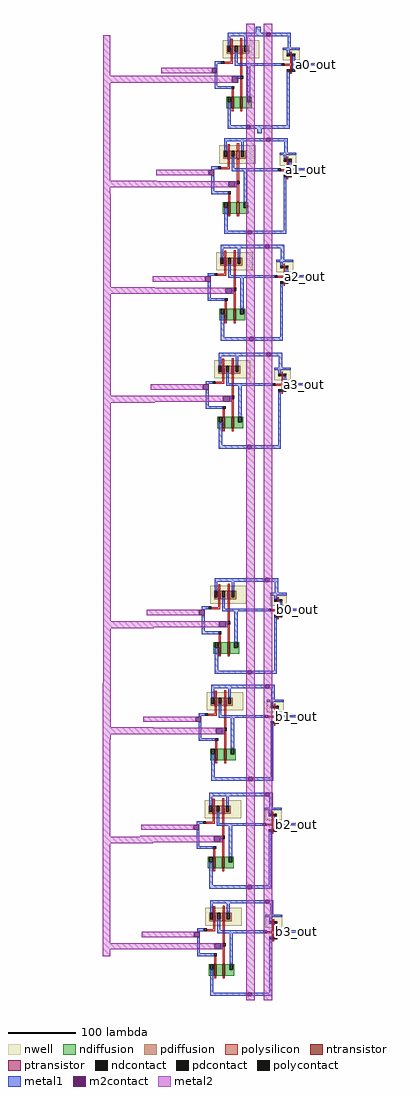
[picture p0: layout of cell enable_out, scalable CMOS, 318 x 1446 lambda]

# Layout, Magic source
magic
tech scmos
<< nwell >>
rect -3 -38 51 -11
rect 86 -41 111 -25
rect -8 -196 46 -169
rect 81 -199 106 -183
rect -11 -356 43 -329
rect 78 -359 103 -343
rect -17 -690 37 -663
rect 72 -693 97 -677
rect -22 -848 32 -821
rect 67 -851 92 -835
rect -25 -1008 29 -981
rect 64 -1011 89 -995
rect -24 -1167 30 -1140
rect 65 -1170 90 -1154
<< ntransistor >>
rect 97 -58 99 -54
rect 10 -112 13 -95
rect 23 -112 26 -95
rect 92 -216 94 -212
rect 5 -270 8 -253
rect 18 -270 21 -253
rect 89 -376 91 -372
rect 2 -430 5 -413
rect 15 -430 18 -413
rect 83 -710 85 -706
rect -4 -764 -1 -747
rect 9 -764 12 -747
rect 78 -868 80 -864
rect -9 -922 -6 -905
rect 4 -922 7 -905
rect 75 -1028 77 -1024
rect -12 -1082 -9 -1065
rect 1 -1082 4 -1065
rect 76 -1187 78 -1183
rect -11 -1241 -8 -1224
rect 2 -1241 5 -1224
<< ptransistor >>
rect 9 -31 12 -19
rect 23 -31 26 -19
rect 97 -35 99 -31
rect 4 -189 7 -177
rect 18 -189 21 -177
rect 92 -193 94 -189
rect 1 -349 4 -337
rect 15 -349 18 -337
rect 89 -353 91 -349
rect -5 -683 -2 -671
rect 9 -683 12 -671
rect 83 -687 85 -683
rect -10 -841 -7 -829
rect 4 -841 7 -829
rect 78 -845 80 -841
rect -13 -1001 -10 -989
rect 1 -1001 4 -989
rect 75 -1005 77 -1001
rect -12 -1160 -9 -1148
rect 2 -1160 5 -1148
rect 76 -1164 78 -1160
<< ndiffusion >>
rect 96 -58 97 -54
rect 99 -58 100 -54
rect 2 -103 4 -95
rect 9 -103 10 -95
rect 2 -112 10 -103
rect 13 -112 23 -95
rect 26 -103 33 -95
rect 38 -103 40 -95
rect 26 -112 40 -103
rect 91 -216 92 -212
rect 94 -216 95 -212
rect -3 -261 -1 -253
rect 4 -261 5 -253
rect -3 -270 5 -261
rect 8 -270 18 -253
rect 21 -261 28 -253
rect 33 -261 35 -253
rect 21 -270 35 -261
rect 88 -376 89 -372
rect 91 -376 92 -372
rect -6 -421 -4 -413
rect 1 -421 2 -413
rect -6 -430 2 -421
rect 5 -430 15 -413
rect 18 -421 25 -413
rect 30 -421 32 -413
rect 18 -430 32 -421
rect 82 -710 83 -706
rect 85 -710 86 -706
rect -12 -755 -10 -747
rect -5 -755 -4 -747
rect -12 -764 -4 -755
rect -1 -764 9 -747
rect 12 -755 19 -747
rect 24 -755 26 -747
rect 12 -764 26 -755
rect 77 -868 78 -864
rect 80 -868 81 -864
rect -17 -913 -15 -905
rect -10 -913 -9 -905
rect -17 -922 -9 -913
rect -6 -922 4 -905
rect 7 -913 14 -905
rect 19 -913 21 -905
rect 7 -922 21 -913
rect 74 -1028 75 -1024
rect 77 -1028 78 -1024
rect -20 -1073 -18 -1065
rect -13 -1073 -12 -1065
rect -20 -1082 -12 -1073
rect -9 -1082 1 -1065
rect 4 -1073 11 -1065
rect 16 -1073 18 -1065
rect 4 -1082 18 -1073
rect 75 -1187 76 -1183
rect 78 -1187 79 -1183
rect -19 -1232 -17 -1224
rect -12 -1232 -11 -1224
rect -19 -1241 -11 -1232
rect -8 -1241 2 -1224
rect 5 -1232 12 -1224
rect 17 -1232 19 -1224
rect 5 -1241 19 -1232
<< pdiffusion >>
rect 3 -28 4 -19
rect 8 -28 9 -19
rect 3 -31 9 -28
rect 12 -28 15 -19
rect 19 -28 23 -19
rect 12 -31 23 -28
rect 26 -28 29 -19
rect 33 -28 36 -19
rect 26 -31 36 -28
rect 96 -35 97 -31
rect 99 -35 100 -31
rect -2 -186 -1 -177
rect 3 -186 4 -177
rect -2 -189 4 -186
rect 7 -186 10 -177
rect 14 -186 18 -177
rect 7 -189 18 -186
rect 21 -186 24 -177
rect 28 -186 31 -177
rect 21 -189 31 -186
rect 91 -193 92 -189
rect 94 -193 95 -189
rect -5 -346 -4 -337
rect 0 -346 1 -337
rect -5 -349 1 -346
rect 4 -346 7 -337
rect 11 -346 15 -337
rect 4 -349 15 -346
rect 18 -346 21 -337
rect 25 -346 28 -337
rect 18 -349 28 -346
rect 88 -353 89 -349
rect 91 -353 92 -349
rect -11 -680 -10 -671
rect -6 -680 -5 -671
rect -11 -683 -5 -680
rect -2 -680 1 -671
rect 5 -680 9 -671
rect -2 -683 9 -680
rect 12 -680 15 -671
rect 19 -680 22 -671
rect 12 -683 22 -680
rect 82 -687 83 -683
rect 85 -687 86 -683
rect -16 -838 -15 -829
rect -11 -838 -10 -829
rect -16 -841 -10 -838
rect -7 -838 -4 -829
rect 0 -838 4 -829
rect -7 -841 4 -838
rect 7 -838 10 -829
rect 14 -838 17 -829
rect 7 -841 17 -838
rect 77 -845 78 -841
rect 80 -845 81 -841
rect -19 -998 -18 -989
rect -14 -998 -13 -989
rect -19 -1001 -13 -998
rect -10 -998 -7 -989
rect -3 -998 1 -989
rect -10 -1001 1 -998
rect 4 -998 7 -989
rect 11 -998 14 -989
rect 4 -1001 14 -998
rect 74 -1005 75 -1001
rect 77 -1005 78 -1001
rect -18 -1157 -17 -1148
rect -13 -1157 -12 -1148
rect -18 -1160 -12 -1157
rect -9 -1157 -6 -1148
rect -2 -1157 2 -1148
rect -9 -1160 2 -1157
rect 5 -1157 8 -1148
rect 12 -1157 15 -1148
rect 5 -1160 15 -1157
rect 75 -1164 76 -1160
rect 78 -1164 79 -1160
<< ndcontact >>
rect 92 -58 96 -54
rect 100 -58 104 -54
rect 4 -103 9 -95
rect 33 -103 38 -95
rect 87 -216 91 -212
rect 95 -216 99 -212
rect -1 -261 4 -253
rect 28 -261 33 -253
rect 84 -376 88 -372
rect 92 -376 96 -372
rect -4 -421 1 -413
rect 25 -421 30 -413
rect 78 -710 82 -706
rect 86 -710 90 -706
rect -10 -755 -5 -747
rect 19 -755 24 -747
rect 73 -868 77 -864
rect 81 -868 85 -864
rect -15 -913 -10 -905
rect 14 -913 19 -905
rect 70 -1028 74 -1024
rect 78 -1028 82 -1024
rect -18 -1073 -13 -1065
rect 11 -1073 16 -1065
rect 71 -1187 75 -1183
rect 79 -1187 83 -1183
rect -17 -1232 -12 -1224
rect 12 -1232 17 -1224
<< pdcontact >>
rect 4 -28 8 -19
rect 15 -28 19 -19
rect 29 -28 33 -19
rect 92 -35 96 -31
rect 100 -35 104 -31
rect -1 -186 3 -177
rect 10 -186 14 -177
rect 24 -186 28 -177
rect 87 -193 91 -189
rect 95 -193 99 -189
rect -4 -346 0 -337
rect 7 -346 11 -337
rect 21 -346 25 -337
rect 84 -353 88 -349
rect 92 -353 96 -349
rect -10 -680 -6 -671
rect 1 -680 5 -671
rect 15 -680 19 -671
rect 78 -687 82 -683
rect 86 -687 90 -683
rect -15 -838 -11 -829
rect -4 -838 0 -829
rect 10 -838 14 -829
rect 73 -845 77 -841
rect 81 -845 85 -841
rect -18 -998 -14 -989
rect -7 -998 -3 -989
rect 7 -998 11 -989
rect 70 -1005 74 -1001
rect 78 -1005 82 -1001
rect -17 -1157 -13 -1148
rect -6 -1157 -2 -1148
rect 8 -1157 12 -1148
rect 71 -1164 75 -1160
rect 79 -1164 83 -1160
<< polysilicon >>
rect 9 -19 12 -9
rect 23 -19 26 -8
rect 97 -31 99 -28
rect 9 -43 12 -31
rect -1 -46 12 -43
rect 23 -64 26 -31
rect 97 -46 99 -35
rect 88 -49 99 -46
rect 97 -54 99 -49
rect 97 -61 99 -58
rect 10 -95 13 -83
rect 23 -95 26 -68
rect 10 -116 13 -112
rect 23 -116 26 -112
rect 4 -177 7 -167
rect 18 -177 21 -166
rect 92 -189 94 -186
rect 4 -201 7 -189
rect -6 -204 7 -201
rect 18 -222 21 -189
rect 92 -204 94 -193
rect 83 -207 94 -204
rect 92 -212 94 -207
rect 92 -219 94 -216
rect 5 -253 8 -241
rect 18 -253 21 -226
rect 5 -274 8 -270
rect 18 -274 21 -270
rect 1 -337 4 -327
rect 15 -337 18 -326
rect 89 -349 91 -346
rect 1 -361 4 -349
rect -9 -364 4 -361
rect 15 -382 18 -349
rect 89 -364 91 -353
rect 80 -367 91 -364
rect 89 -372 91 -367
rect 89 -379 91 -376
rect 2 -413 5 -401
rect 15 -413 18 -386
rect 2 -434 5 -430
rect 15 -434 18 -430
rect -5 -671 -2 -661
rect 9 -671 12 -660
rect 83 -683 85 -680
rect -5 -695 -2 -683
rect -15 -698 -2 -695
rect 9 -716 12 -683
rect 83 -698 85 -687
rect 74 -701 85 -698
rect 83 -706 85 -701
rect 83 -713 85 -710
rect -4 -747 -1 -735
rect 9 -747 12 -720
rect -4 -768 -1 -764
rect 9 -768 12 -764
rect -10 -829 -7 -819
rect 4 -829 7 -818
rect 78 -841 80 -838
rect -10 -853 -7 -841
rect -20 -856 -7 -853
rect 4 -874 7 -841
rect 78 -856 80 -845
rect 69 -859 80 -856
rect 78 -864 80 -859
rect 78 -871 80 -868
rect -9 -905 -6 -893
rect 4 -905 7 -878
rect -9 -926 -6 -922
rect 4 -926 7 -922
rect -13 -989 -10 -979
rect 1 -989 4 -978
rect 75 -1001 77 -998
rect -13 -1013 -10 -1001
rect -23 -1016 -10 -1013
rect 1 -1034 4 -1001
rect 75 -1016 77 -1005
rect 66 -1019 77 -1016
rect 75 -1024 77 -1019
rect 75 -1031 77 -1028
rect -12 -1065 -9 -1053
rect 1 -1065 4 -1038
rect -12 -1086 -9 -1082
rect 1 -1086 4 -1082
rect -12 -1148 -9 -1138
rect 2 -1148 5 -1137
rect 76 -1160 78 -1157
rect -12 -1172 -9 -1160
rect -22 -1175 -9 -1172
rect 2 -1193 5 -1160
rect 76 -1175 78 -1164
rect 67 -1178 78 -1175
rect 76 -1183 78 -1178
rect 76 -1190 78 -1187
rect -11 -1224 -8 -1212
rect 2 -1224 5 -1197
rect -11 -1245 -8 -1241
rect 2 -1245 5 -1241
<< polycontact >>
rect -5 -46 -1 -42
rect 84 -49 88 -45
rect 23 -68 27 -64
rect 10 -83 14 -79
rect -10 -204 -6 -200
rect 79 -207 83 -203
rect 18 -226 22 -222
rect 5 -241 9 -237
rect -13 -364 -9 -360
rect 76 -367 80 -363
rect 15 -386 19 -382
rect 2 -401 6 -397
rect -19 -698 -15 -694
rect 70 -701 74 -697
rect 9 -720 13 -716
rect -4 -735 0 -731
rect -24 -856 -20 -852
rect 65 -859 69 -855
rect 4 -878 8 -874
rect -9 -893 -5 -889
rect -27 -1016 -23 -1012
rect 62 -1019 66 -1015
rect 1 -1038 5 -1034
rect -12 -1053 -8 -1049
rect -26 -1175 -22 -1171
rect 63 -1178 67 -1174
rect 2 -1197 6 -1193
rect -11 -1212 -7 -1208
<< metal1 >>
rect 51 153 58 165
rect 126 108 142 111
rect 53 7 60 18
rect 4 -5 66 0
rect 72 -5 98 0
rect 4 -19 8 -5
rect 29 -19 33 -5
rect 93 -22 98 -5
rect 86 -25 111 -22
rect -15 -46 -5 -42
rect 15 -45 19 -28
rect 92 -31 96 -25
rect 100 -45 104 -35
rect -15 -47 -11 -46
rect 15 -49 84 -45
rect 100 -48 134 -45
rect -15 -79 -11 -55
rect 20 -68 23 -64
rect -15 -83 10 -79
rect 33 -95 38 -49
rect 100 -54 104 -48
rect 4 -137 9 -103
rect 92 -137 96 -58
rect 4 -142 39 -137
rect 45 -142 96 -137
rect -1 -163 65 -158
rect 71 -163 93 -158
rect -1 -177 3 -163
rect 24 -177 28 -163
rect 88 -180 93 -163
rect 81 -183 106 -180
rect -20 -204 -10 -200
rect 10 -203 14 -186
rect 87 -189 91 -183
rect 95 -203 99 -193
rect -20 -205 -16 -204
rect 10 -207 79 -203
rect 95 -206 130 -203
rect -20 -237 -16 -213
rect 15 -226 18 -222
rect -20 -241 5 -237
rect 28 -253 33 -207
rect 95 -212 99 -206
rect -1 -295 4 -261
rect 87 -295 91 -216
rect -1 -300 41 -295
rect 47 -300 91 -295
rect -4 -323 67 -318
rect 73 -323 90 -318
rect -4 -337 0 -323
rect 21 -337 25 -323
rect 85 -340 90 -323
rect 78 -343 103 -340
rect -23 -364 -13 -360
rect 7 -363 11 -346
rect 84 -349 88 -343
rect 92 -363 96 -353
rect -23 -365 -19 -364
rect 7 -367 76 -363
rect 92 -366 128 -363
rect -23 -397 -19 -373
rect 12 -386 15 -382
rect -23 -401 2 -397
rect 25 -413 30 -367
rect 92 -372 96 -366
rect -4 -455 1 -421
rect 84 -455 88 -376
rect -4 -460 38 -455
rect 44 -460 88 -455
rect -10 -657 65 -652
rect 71 -657 84 -652
rect -10 -671 -6 -657
rect 15 -671 19 -657
rect 79 -674 84 -657
rect 72 -677 97 -674
rect -29 -698 -19 -694
rect 1 -697 5 -680
rect 78 -683 82 -677
rect 86 -697 90 -687
rect -29 -699 -25 -698
rect 1 -701 70 -697
rect 86 -700 121 -697
rect -29 -731 -25 -707
rect 6 -720 9 -716
rect -29 -735 -4 -731
rect 19 -747 24 -701
rect 86 -706 90 -700
rect -10 -789 -5 -755
rect 78 -789 82 -710
rect -10 -794 39 -789
rect 45 -794 82 -789
rect -15 -815 65 -810
rect 71 -815 79 -810
rect -15 -829 -11 -815
rect 10 -829 14 -815
rect 74 -832 79 -815
rect 67 -835 92 -832
rect -34 -856 -24 -852
rect -4 -855 0 -838
rect 73 -841 77 -835
rect 81 -855 85 -845
rect -34 -857 -30 -856
rect -4 -859 65 -855
rect 81 -858 118 -855
rect -34 -889 -30 -865
rect 1 -878 4 -874
rect -34 -893 -9 -889
rect 14 -905 19 -859
rect 81 -864 85 -858
rect -15 -947 -10 -913
rect 73 -947 77 -868
rect -15 -952 40 -947
rect 46 -952 77 -947
rect -18 -975 65 -970
rect -18 -989 -14 -975
rect 7 -989 11 -975
rect 71 -992 76 -970
rect 64 -995 89 -992
rect -37 -1016 -27 -1012
rect -7 -1015 -3 -998
rect 70 -1001 74 -995
rect 78 -1015 82 -1005
rect -37 -1017 -33 -1016
rect -7 -1019 62 -1015
rect 78 -1018 116 -1015
rect -37 -1049 -33 -1025
rect -2 -1038 1 -1034
rect -37 -1053 -12 -1049
rect 11 -1065 16 -1019
rect 78 -1024 82 -1018
rect -18 -1107 -13 -1073
rect 70 -1107 74 -1028
rect -18 -1112 39 -1107
rect 45 -1112 74 -1107
rect -17 -1134 65 -1129
rect 71 -1134 77 -1129
rect -17 -1148 -13 -1134
rect 8 -1148 12 -1134
rect 72 -1151 77 -1134
rect 65 -1154 90 -1151
rect -36 -1175 -26 -1171
rect -6 -1174 -2 -1157
rect 71 -1160 75 -1154
rect 79 -1174 83 -1164
rect -36 -1176 -32 -1175
rect -6 -1178 63 -1174
rect 79 -1177 114 -1174
rect -36 -1208 -32 -1184
rect -1 -1197 2 -1193
rect -36 -1212 -11 -1208
rect 12 -1224 17 -1178
rect 79 -1183 83 -1177
rect -17 -1266 -12 -1232
rect 71 -1266 75 -1187
rect -17 -1271 39 -1266
rect 45 -1271 75 -1266
<< m2contact >>
rect 66 151 72 156
rect -14 96 -6 104
rect 16 82 25 92
rect 37 14 43 19
rect 66 -5 72 0
rect -19 -55 -11 -47
rect 11 -73 20 -64
rect 39 -142 45 -137
rect 65 -163 71 -158
rect -24 -213 -16 -205
rect 6 -231 15 -222
rect 41 -300 47 -295
rect 67 -323 73 -318
rect -27 -373 -19 -365
rect 3 -391 12 -382
rect 38 -460 44 -455
rect 65 -657 71 -652
rect -33 -707 -25 -699
rect -3 -725 6 -716
rect 39 -794 45 -789
rect 65 -815 71 -810
rect -38 -865 -30 -857
rect -8 -883 1 -874
rect 40 -952 46 -947
rect 65 -975 71 -970
rect -41 -1025 -33 -1017
rect -11 -1043 -2 -1034
rect 39 -1112 45 -1107
rect 65 -1134 71 -1129
rect -40 -1184 -32 -1176
rect -10 -1202 -1 -1193
rect 39 -1271 45 -1266
<< metal2 >>
rect -175 92 -165 152
rect -89 96 -14 104
rect -175 82 16 92
rect -175 -63 -165 82
rect 37 19 49 169
rect 43 14 49 19
rect -97 -55 -19 -47
rect -175 -64 -96 -63
rect -175 -73 11 -64
rect 20 -73 23 -64
rect -175 -83 -165 -73
rect -175 -221 -164 -83
rect 37 -137 49 14
rect 37 -142 39 -137
rect 45 -142 49 -137
rect -102 -213 -24 -205
rect -175 -222 -99 -221
rect -175 -231 6 -222
rect 15 -231 18 -222
rect -175 -382 -164 -231
rect 37 -295 49 -142
rect 37 -300 41 -295
rect 47 -300 49 -295
rect -105 -373 -27 -365
rect -175 -391 3 -382
rect 12 -391 15 -382
rect -175 -392 -99 -391
rect -175 -716 -164 -392
rect 37 -455 49 -300
rect 37 -460 38 -455
rect 44 -460 49 -455
rect -111 -707 -33 -699
rect -175 -725 -3 -716
rect 6 -725 9 -716
rect -175 -726 -100 -725
rect -175 -807 -164 -726
rect -176 -873 -164 -807
rect 37 -789 49 -460
rect 37 -794 39 -789
rect 45 -794 49 -789
rect -116 -865 -38 -857
rect -176 -874 -101 -873
rect -176 -883 -8 -874
rect 1 -883 4 -874
rect -176 -891 -164 -883
rect -176 -1035 -165 -891
rect 37 -947 49 -794
rect 37 -952 40 -947
rect 46 -952 49 -947
rect -119 -1025 -41 -1017
rect -120 -1035 -11 -1034
rect -176 -1043 -11 -1035
rect -2 -1043 1 -1034
rect -176 -1045 -101 -1043
rect -176 -1193 -165 -1045
rect 37 -1107 49 -952
rect 37 -1112 39 -1107
rect 45 -1112 49 -1107
rect -118 -1184 -40 -1176
rect -176 -1202 -10 -1193
rect -1 -1202 2 -1193
rect -176 -1212 -165 -1202
rect 37 -1266 49 -1112
rect 37 -1271 39 -1266
rect 45 -1271 49 -1266
rect 37 -1277 49 -1271
rect 63 156 75 169
rect 63 151 66 156
rect 72 151 75 156
rect 63 0 75 151
rect 63 -5 66 0
rect 72 -5 75 0
rect 63 -158 75 -5
rect 63 -163 65 -158
rect 71 -163 75 -158
rect 63 -318 75 -163
rect 63 -323 67 -318
rect 73 -323 75 -318
rect 63 -652 75 -323
rect 63 -657 65 -652
rect 71 -657 75 -652
rect 63 -810 75 -657
rect 63 -815 65 -810
rect 71 -815 75 -810
rect 63 -970 75 -815
rect 63 -975 65 -970
rect 71 -975 75 -970
rect 63 -1129 75 -975
rect 63 -1134 65 -1129
rect 71 -1134 75 -1129
rect 63 -1277 75 -1134
use AND  AND_0
transform 1 0 50 0 1 110
box -60 -96 78 46
<< labels >>
rlabel metal1 109 -1177 112 -1174 1 b3_out
rlabel metal1 109 -1018 112 -1015 1 b2_out
rlabel metal1 110 -858 113 -855 1 b1_out
rlabel metal1 111 -700 114 -697 1 b0_out
rlabel metal1 121 -366 124 -363 1 a3_out
rlabel metal1 123 -206 126 -203 1 a2_out
rlabel metal1 125 -48 128 -45 1 a1_out
rlabel metal1 139 108 142 111 7 a0_out
<< end >>

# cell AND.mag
magic
tech scmos
<< nwell >>
rect -48 8 6 35
rect 41 5 66 21
<< ntransistor >>
rect 52 -12 54 -8
rect -35 -66 -32 -49
rect -22 -66 -19 -49
<< ptransistor >>
rect -36 15 -33 27
rect -22 15 -19 27
rect 52 11 54 15
<< ndiffusion >>
rect 51 -12 52 -8
rect 54 -12 55 -8
rect -43 -57 -41 -49
rect -36 -57 -35 -49
rect -43 -66 -35 -57
rect -32 -66 -22 -49
rect -19 -57 -12 -49
rect -7 -57 -5 -49
rect -19 -66 -5 -57
<< pdiffusion >>
rect -42 18 -41 27
rect -37 18 -36 27
rect -42 15 -36 18
rect -33 18 -30 27
rect -26 18 -22 27
rect -33 15 -22 18
rect -19 18 -16 27
rect -12 18 -9 27
rect -19 15 -9 18
rect 51 11 52 15
rect 54 11 55 15
<< ndcontact >>
rect 47 -12 51 -8
rect 55 -12 59 -8
rect -41 -57 -36 -49
rect -12 -57 -7 -49
<< pdcontact >>
rect -41 18 -37 27
rect -30 18 -26 27
rect -16 18 -12 27
rect 47 11 51 15
rect 55 11 59 15
<< polysilicon >>
rect -36 27 -33 37
rect -22 27 -19 38
rect 52 15 54 18
rect -36 3 -33 15
rect -46 0 -33 3
rect -22 -18 -19 15
rect 52 0 54 11
rect 43 -3 54 0
rect 52 -8 54 -3
rect 52 -15 54 -12
rect -35 -49 -32 -37
rect -22 -49 -19 -22
rect -35 -70 -32 -66
rect -22 -70 -19 -66
<< polycontact >>
rect -50 0 -46 4
rect 39 -3 43 1
rect -22 -22 -18 -18
rect -35 -37 -31 -33
<< metal1 >>
rect -41 41 53 46
rect -41 27 -37 41
rect -16 27 -12 41
rect 48 24 53 41
rect 41 21 66 24
rect -60 0 -50 4
rect -30 1 -26 18
rect 47 15 51 21
rect 55 1 59 11
rect -60 -33 -56 0
rect -30 -3 39 1
rect 55 -2 78 1
rect -29 -22 -22 -18
rect -60 -37 -35 -33
rect -12 -49 -7 -3
rect 55 -8 59 -2
rect -41 -91 -36 -57
rect 47 -91 51 -12
rect -41 -96 51 -91
<< end >>
